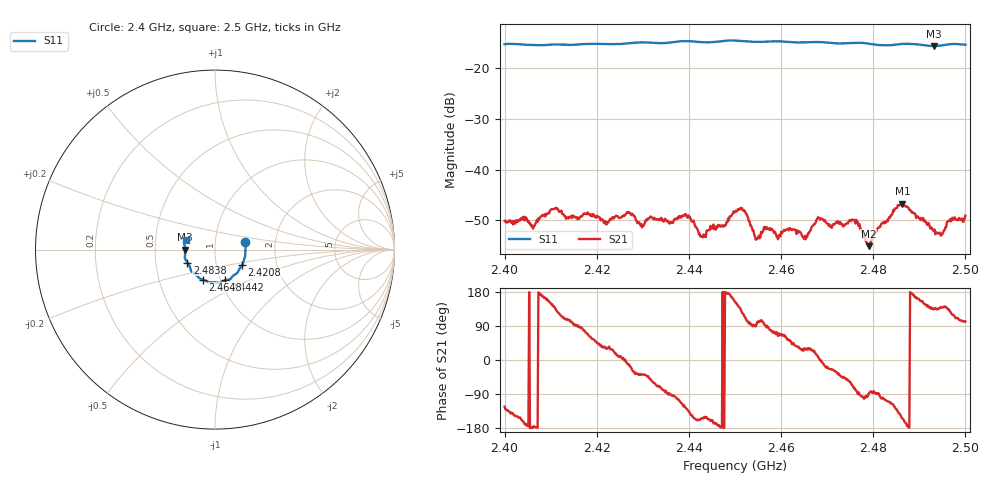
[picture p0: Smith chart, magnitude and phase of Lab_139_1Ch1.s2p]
# Hz S RI R 50
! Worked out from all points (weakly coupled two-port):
!   601 points, 2.4 GHz to 2.5 GHz, reference 50 ohm
!   highest |S21| = -46.74 dB at 2.4863 GHz (marker M1); lowest = -55.1 dB at 2.479 GHz (marker M2)
!   lowest |S11| = -15.6 dB at 2.4932 GHz (marker M3), VSWR 1.40, Z = 35.8 - j0.082 ohm
!   |S11| at or under -10 dB: start of sweep to end of sweep
!   S12 and S22 are empty: the file has one direction only
!   S11 on the Smith chart (normalised r, x): 2.4 GHz: 1.40, +0.12; 2.4208 GHz: 1.33, -0.24; 2.4442 GHz: 1.05, -0.37; 2.4648 GHz: 0.83, -0.29; 2.4838 GHz: 0.73, -0.11; 2.5 GHz: 0.72, +0.08
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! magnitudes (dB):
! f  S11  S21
! 2.4 GHz  -15.3  -50.1
! 2.4062 GHz  -15.4  -51.6
! 2.4107 GHz  -15.3  -47.8
! 2.4167 GHz  -15.2  -49.2
! 2.4208 GHz  -15.2  -50.0
! 2.4333 GHz  -15.0  -49.7
! 2.4393 GHz  -14.6  -48.8
! 2.4427 GHz  -14.8  -53.2
! 2.4442 GHz  -14.9  -52.0
! 2.45 GHz  -14.5  -48.3
! 2.452 GHz  -14.7  -48.0
! 2.4548 GHz  -14.8  -53.7
! 2.4568 GHz  -14.7  -51.3
! 2.4648 GHz  -14.9  -53.5
! 2.4667 GHz  -14.8  -51.2
! 2.4758 GHz  -15.0  -50.0
! 2.479 GHz  -15.1  -55.1
! 2.4833 GHz  -15.5  -49.6
! 2.4838 GHz  -15.4  -49.0
! 2.4863 GHz  -15.2  -46.7
! 2.4932 GHz  -15.6  -52.1
! 2.5 GHz  -15.3  -49.1
